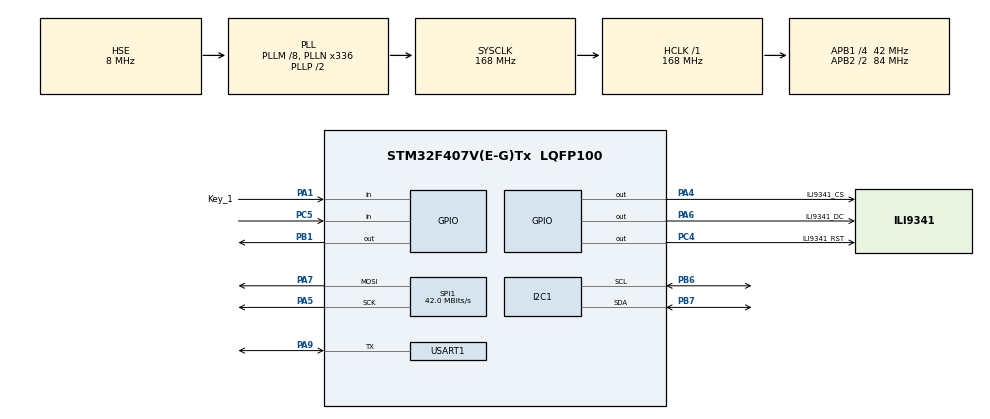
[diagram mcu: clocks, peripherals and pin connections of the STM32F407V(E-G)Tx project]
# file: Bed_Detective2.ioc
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FREERTOS.BinarySemaphores01=myBinarySem01,Dynamic,NULL,Available
FREERTOS.Tasks01=defaultTask,24,128,StartDefaultTask,Default,NULL,Dynamic,NULL,NULL;lv_Timertask,8,1536,lv_Timerhandler_Task,Default,NULL,Dynamic,NULL,NULL;KEY_HandleTask,9,128,KEY_Task,Default,NULL,Dynamic,NULL,NULL
I2C1.I2C_Mode=I2C_Fast
Mcu.Family=STM32F4
Mcu.Name=STM32F407V(E-G)Tx
Mcu.Package=LQFP100
NVIC.PriorityGroup=NVIC_PRIORITYGROUP_4
PA1.GPIO_Label=Key_1
PA1.GPIO_PuPd=GPIO_PULLUP
PA1.Signal=GPIO_Input
PA4.GPIO_Label=ILI9341_CS
PA4.PinState=GPIO_PIN_SET
PA4.Signal=GPIO_Output
PA5.Mode=TX_Only_Simplex_Unidirect_Master
PA5.Signal=SPI1_SCK
PA6.GPIO_Label=ILI9341_DC
PA6.Signal=GPIO_Output
PA7.Mode=TX_Only_Simplex_Unidirect_Master
PA7.Signal=SPI1_MOSI
PA9.Mode=Half_duplex(single_wire_mode)
PA9.Signal=USART1_TX
PB1.GPIO_PuPd=GPIO_PULLDOWN
PB1.Signal=GPIO_Output
PB6.Mode=I2C
PB6.Signal=I2C1_SCL
PB7.Mode=I2C
PB7.Signal=I2C1_SDA
PC14-OSC32_IN.Mode=LSE-External-Oscillator
PC14-OSC32_IN.Signal=RCC_OSC32_IN
PC15-OSC32_OUT.Mode=LSE-External-Oscillator
PC15-OSC32_OUT.Signal=RCC_OSC32_OUT
PC4.GPIO_Label=ILI9341_RST
PC4.PinState=GPIO_PIN_SET
PC4.Signal=GPIO_Output
PC5.GPIO_PuPd=GPIO_NOPULL
PC5.Signal=GPIO_Input
PH0-OSC_IN.Mode=HSE-External-Oscillator
PH0-OSC_IN.Signal=RCC_OSC_IN
PH1-OSC_OUT.Mode=HSE-External-Oscillator
PH1-OSC_OUT.Signal=RCC_OSC_OUT
ProjectManager.HeapSize=0x200
ProjectManager.StackSize=0x400
ProjectManager.TargetToolchain=STM32CubeIDE
RCC.48MHZClocksFreq_Value=84000000
RCC.AHBFreq_Value=168000000
RCC.APB1CLKDivider=RCC_HCLK_DIV4
RCC.APB1Freq_Value=42000000
RCC.APB1TimFreq_Value=84000000
RCC.APB2CLKDivider=RCC_HCLK_DIV2
RCC.APB2Freq_Value=84000000
RCC.APB2TimFreq_Value=168000000
RCC.CortexFreq_Value=168000000
RCC.HCLKFreq_Value=168000000
RCC.HSE_VALUE=8000000
RCC.HSI_VALUE=16000000
RCC.PLLM=8
RCC.PLLN=336
RCC.PLLSourceVirtual=RCC_PLLSOURCE_HSE
RCC.RCC_RTC_Clock_Source=RCC_RTCCLKSOURCE_LSE
RCC.RCC_RTC_Clock_SourceVirtual=RCC_RTCCLKSOURCE_LSE
RCC.SYSCLKFreq_VALUE=168000000
RCC.SYSCLKSource=RCC_SYSCLKSOURCE_PLLCLK
RCC.VCOOutputFreq_Value=336000000
SPI1.BaudRatePrescaler=SPI_BAUDRATEPRESCALER_2
SPI1.CalculateBaudRate=42.0 MBits/s
SPI1.Direction=SPI_DIRECTION_2LINES
SPI1.Mode=SPI_MODE_MASTER
SPI1.VirtualType=VM_MASTER
USART1.VirtualMode=VM_ASYNC
VP_FREERTOS_VS_CMSIS_V2.Mode=CMSIS_V2
VP_RTC_VS_RTC_Activate.Mode=RTC_Enabled
VP_RTC_VS_RTC_Calendar.Mode=RTC_Calendar
board=custom

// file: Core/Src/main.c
/* USER CODE BEGIN Header */
/**
  ******************************************************************************
  * @file           : main.c
  * @brief          : Main program body
  ******************************************************************************
  * @attention
  *
  * Copyright (c) 2026 STMicroelectronics.
  * All rights reserved.
  *
  * This software is licensed under terms that can be found in the LICENSE file
  * in the root directory of this software component.
  * If no LICENSE file comes with this software, it is provided AS-IS.
  *
  ******************************************************************************
  */
/* USER CODE END Header */
#include "main.h"
#include "cmsis_os.h"

/* USER CODE BEGIN Includes */
#include "LCD.h"
#include "lvgl.h"
#include "lv_port.h"
#include "myTask.h"
#include "key.h"
#include "log.h"
#include "ft6336.h"
/* USER CODE END Includes */

I2C_HandleTypeDef hi2c1;

RTC_HandleTypeDef hrtc;

SPI_HandleTypeDef hspi1;

UART_HandleTypeDef huart1;

/* Definitions for defaultTask */
osThreadId_t defaultTaskHandle;
const osThreadAttr_t defaultTask_attributes = {
  .name = "defaultTask",
  .stack_size = 128 * 4,
  .priority = (osPriority_t) osPriorityNormal,
};
/* Definitions for lv_Timertask */
osThreadId_t lv_TimertaskHandle;
const osThreadAttr_t lv_Timertask_attributes = {
  .name = "lv_Timertask",
  .stack_size = 1536 * 4,
  .priority = (osPriority_t) osPriorityLow,
};
/* Definitions for KEY_HandleTask */
osThreadId_t KEY_HandleTaskHandle;
const osThreadAttr_t KEY_HandleTask_attributes = {
  .name = "KEY_HandleTask",
  .stack_size = 128 * 4,
  .priority = (osPriority_t) osPriorityLow1,
};
/* Definitions for myBinarySem01 */
osSemaphoreId_t myBinarySem01Handle;
const osSemaphoreAttr_t myBinarySem01_attributes = {
  .name = "myBinarySem01"
};
/* USER CODE BEGIN PV */
GPIO_PinState current = GPIO_PIN_SET;
GPIO_PinState previous = GPIO_PIN_SET;
/* USER CODE END PV */

void SystemClock_Config(void);
static void MX_GPIO_Init(void);
static void MX_SPI1_Init(void);
static void MX_RTC_Init(void);
static void MX_I2C1_Init(void);
static void MX_USART1_UART_Init(void);
void StartDefaultTask(void *argument);
void lv_Timerhandler_Task(void *argument);
void KEY_Task(void *argument);

/* USER CODE BEGIN 0 */
static void touch_test(void)
{
    LOG("=== I2C scan ===\r\n");
    for (uint8_t a = 0x08; a < 0x78; a++) {
        if (HAL_I2C_IsDeviceReady(&hi2c1, a << 1, 2, 10) == HAL_OK) {
            LOG("  found 0x%02X\r\n", a);
        }
    }

    LOG("=== touch init ===\r\n");
    if (!ft6336_init()) {
        LOG("  FAIL\r\n");
        return;
    }
    LOG("  OK\r\n");

    LOG("=== read 5s, touch the screen ===\r\n");
    for (int i = 0; i < 50; i++) {
        uint16_t x, y;
        if (ft6336_read(&x, &y)) {
            LOG("  x=%d y=%d\r\n", x, y);
        }
        osDelay(100);
    }
}
/* USER CODE END 0 */

int main(void)
{

  /* MCU Configuration--------------------------------------------------------*/

  /* Reset of all peripherals, Initializes the Flash interface and the Systick. */
  HAL_Init();

  /* Configure the system clock */
  SystemClock_Config();

  /* Initialize all configured peripherals */
  MX_GPIO_Init();
  MX_SPI1_Init();
  MX_RTC_Init();
  MX_I2C1_Init();
  MX_USART1_UART_Init();
  /* USER CODE BEGIN 2 */
  LCD_Init();

  /* USER CODE END 2 */

  /* Init scheduler */
  osKernelInitialize();

  /* Create the semaphores(s) */
  /* creation of myBinarySem01 */
  myBinarySem01Handle = osSemaphoreNew(1, 1, &myBinarySem01_attributes);

  /* Create the thread(s) */
  /* creation of defaultTask */
  defaultTaskHandle = osThreadNew(StartDefaultTask, NULL, &defaultTask_attributes);

  /* creation of lv_Timertask */
  lv_TimertaskHandle = osThreadNew(lv_Timerhandler_Task, NULL, &lv_Timertask_attributes);

  /* creation of KEY_HandleTask */
  KEY_HandleTaskHandle = osThreadNew(KEY_Task, NULL, &KEY_HandleTask_attributes);

  /* USER CODE BEGIN RTOS_EVENTS */
  /* add events, ... */
  HAL_UART_Transmit(&huart1, (uint8_t *)"BOOT\r\n", 6, 100);
  /* USER CODE END RTOS_EVENTS */

  /* Start scheduler */
  osKernelStart();

  /* We should never get here as control is now taken by the scheduler */

  /* Infinite loop */
  while (1)
  {

  }
}

void SystemClock_Config(void)
{
  RCC_OscInitTypeDef RCC_OscInitStruct = {0};
  RCC_ClkInitTypeDef RCC_ClkInitStruct = {0};

  /** Configure the main internal regulator output voltage
  */
  __HAL_RCC_PWR_CLK_ENABLE();
  __HAL_PWR_VOLTAGESCALING_CONFIG(PWR_REGULATOR_VOLTAGE_SCALE1);

  /** Initializes the RCC Oscillators according to the specified parameters
  * in the RCC_OscInitTypeDef structure.
  */
  RCC_OscInitStruct.OscillatorType = RCC_OSCILLATORTYPE_HSE|RCC_OSCILLATORTYPE_LSE;
  RCC_OscInitStruct.HSEState = RCC_HSE_ON;
  RCC_OscInitStruct.LSEState = RCC_LSE_ON;
  RCC_OscInitStruct.PLL.PLLState = RCC_PLL_ON;
  RCC_OscInitStruct.PLL.PLLSource = RCC_PLLSOURCE_HSE;
  RCC_OscInitStruct.PLL.PLLM = 8;
  RCC_OscInitStruct.PLL.PLLN = 336;
  RCC_OscInitStruct.PLL.PLLP = RCC_PLLP_DIV2;
  RCC_OscInitStruct.PLL.PLLQ = 4;
  if (HAL_RCC_OscConfig(&RCC_OscInitStruct) != HAL_OK)
  {
    Error_Handler();
  }

  /** Initializes the CPU, AHB and APB buses clocks
  */
  RCC_ClkInitStruct.ClockType = RCC_CLOCKTYPE_HCLK|RCC_CLOCKTYPE_SYSCLK
                              |RCC_CLOCKTYPE_PCLK1|RCC_CLOCKTYPE_PCLK2;
  RCC_ClkInitStruct.SYSCLKSource = RCC_SYSCLKSOURCE_PLLCLK;
  RCC_ClkInitStruct.AHBCLKDivider = RCC_SYSCLK_DIV1;
  RCC_ClkInitStruct.APB1CLKDivider = RCC_HCLK_DIV4;
  RCC_ClkInitStruct.APB2CLKDivider = RCC_HCLK_DIV2;

  if (HAL_RCC_ClockConfig(&RCC_ClkInitStruct, FLASH_LATENCY_5) != HAL_OK)
  {
    Error_Handler();
  }
}

static void MX_I2C1_Init(void)
{

  hi2c1.Instance = I2C1;
  hi2c1.Init.ClockSpeed = 400000;
  hi2c1.Init.DutyCycle = I2C_DUTYCYCLE_2;
  hi2c1.Init.OwnAddress1 = 0;
  hi2c1.Init.AddressingMode = I2C_ADDRESSINGMODE_7BIT;
  hi2c1.Init.DualAddressMode = I2C_DUALADDRESS_DISABLE;
  hi2c1.Init.OwnAddress2 = 0;
  hi2c1.Init.GeneralCallMode = I2C_GENERALCALL_DISABLE;
  hi2c1.Init.NoStretchMode = I2C_NOSTRETCH_DISABLE;
  if (HAL_I2C_Init(&hi2c1) != HAL_OK)
  {
    Error_Handler();
  }

}

static void MX_RTC_Init(void)
{

  RTC_TimeTypeDef sTime = {0};
  RTC_DateTypeDef sDate = {0};

  /** Initialize RTC Only
  */
  hrtc.Instance = RTC;
  hrtc.Init.HourFormat = RTC_HOURFORMAT_24;
  hrtc.Init.AsynchPrediv = 127;
  hrtc.Init.SynchPrediv = 255;
  hrtc.Init.OutPut = RTC_OUTPUT_DISABLE;
  hrtc.Init.OutPutPolarity = RTC_OUTPUT_POLARITY_HIGH;
  hrtc.Init.OutPutType = RTC_OUTPUT_TYPE_OPENDRAIN;
  if (HAL_RTC_Init(&hrtc) != HAL_OK)
  {
    Error_Handler();
  }

  /* USER CODE BEGIN Check_RTC_BKUP */
  if (HAL_RTCEx_BKUPRead(&hrtc, RTC_BKP_DR0) == 0x32F2 &&
      HAL_GPIO_ReadPin(Key_1_GPIO_Port, Key_1_Pin) == GPIO_PIN_SET)
  {
      return;
  }

  /* USER CODE END Check_RTC_BKUP */

  /** Initialize RTC and set the Time and Date
  */
  sTime.Hours = 0x0;
  sTime.Minutes = 0x0;
  sTime.Seconds = 0x0;
  sTime.DayLightSaving = RTC_DAYLIGHTSAVING_NONE;
  sTime.StoreOperation = RTC_STOREOPERATION_RESET;
  if (HAL_RTC_SetTime(&hrtc, &sTime, RTC_FORMAT_BCD) != HAL_OK)
  {
    Error_Handler();
  }
  sDate.WeekDay = RTC_WEEKDAY_MONDAY;
  sDate.Month = RTC_MONTH_JANUARY;
  sDate.Date = 0x1;
  sDate.Year = 0x0;

  if (HAL_RTC_SetDate(&hrtc, &sDate, RTC_FORMAT_BCD) != HAL_OK)
  {
    Error_Handler();
  }
  /* USER CODE BEGIN RTC_Init 2 */
  RTC_TimeTypeDef t = {0};
  RTC_DateTypeDef d = {0};

  t.Hours = 12; t.Minutes = 0; t.Seconds = 0;
  d.Year = 26; d.Month = RTC_MONTH_NOVEMBER; d.Date = 26;
  HAL_RTC_SetTime(&hrtc, &t, RTC_FORMAT_BIN);
  HAL_RTC_SetDate(&hrtc, &d, RTC_FORMAT_BIN);
  HAL_RTCEx_BKUPWrite(&hrtc, RTC_BKP_DR0, 0x32F2);
  /* USER CODE END RTC_Init 2 */

}

static void MX_SPI1_Init(void)
{

  /* SPI1 parameter configuration*/
  hspi1.Instance = SPI1;
  hspi1.Init.Mode = SPI_MODE_MASTER;
  hspi1.Init.Direction = SPI_DIRECTION_2LINES;
  hspi1.Init.DataSize = SPI_DATASIZE_8BIT;
  hspi1.Init.CLKPolarity = SPI_POLARITY_LOW;
  hspi1.Init.CLKPhase = SPI_PHASE_1EDGE;
  hspi1.Init.NSS = SPI_NSS_SOFT;
  hspi1.Init.BaudRatePrescaler = SPI_BAUDRATEPRESCALER_2;
  hspi1.Init.FirstBit = SPI_FIRSTBIT_MSB;
  hspi1.Init.TIMode = SPI_TIMODE_DISABLE;
  hspi1.Init.CRCCalculation = SPI_CRCCALCULATION_DISABLE;
  hspi1.Init.CRCPolynomial = 10;
  if (HAL_SPI_Init(&hspi1) != HAL_OK)
  {
    Error_Handler();
  }

}

static void MX_USART1_UART_Init(void)
{

  huart1.Instance = USART1;
  huart1.Init.BaudRate = 115200;
  huart1.Init.WordLength = UART_WORDLENGTH_8B;
  huart1.Init.StopBits = UART_STOPBITS_1;
  huart1.Init.Parity = UART_PARITY_NONE;
  huart1.Init.Mode = UART_MODE_TX_RX;
  huart1.Init.HwFlowCtl = UART_HWCONTROL_NONE;
  huart1.Init.OverSampling = UART_OVERSAMPLING_16;
  if (HAL_HalfDuplex_Init(&huart1) != HAL_OK)
  {
    Error_Handler();
  }

}

static void MX_GPIO_Init(void)
{
  GPIO_InitTypeDef GPIO_InitStruct = {0};

  /* GPIO Ports Clock Enable */
  __HAL_RCC_GPIOC_CLK_ENABLE();
  __HAL_RCC_GPIOH_CLK_ENABLE();
  __HAL_RCC_GPIOA_CLK_ENABLE();
  __HAL_RCC_GPIOB_CLK_ENABLE();

  /*Configure GPIO pin Output Level */
  HAL_GPIO_WritePin(ILI9341_CS_GPIO_Port, ILI9341_CS_Pin, GPIO_PIN_SET);

  /*Configure GPIO pin Output Level */
  HAL_GPIO_WritePin(ILI9341_DC_GPIO_Port, ILI9341_DC_Pin, GPIO_PIN_RESET);

  /*Configure GPIO pin Output Level */
  HAL_GPIO_WritePin(ILI9341_RST_GPIO_Port, ILI9341_RST_Pin, GPIO_PIN_SET);

  /*Configure GPIO pin Output Level */
  HAL_GPIO_WritePin(GPIOB, GPIO_PIN_1, GPIO_PIN_RESET);

  /*Configure GPIO pin : Key_1_Pin */
  GPIO_InitStruct.Pin = Key_1_Pin;
  GPIO_InitStruct.Mode = GPIO_MODE_INPUT;
  GPIO_InitStruct.Pull = GPIO_PULLUP;
  HAL_GPIO_Init(Key_1_GPIO_Port, &GPIO_InitStruct);

  /*Configure GPIO pins : ILI9341_CS_Pin ILI9341_DC_Pin */
  GPIO_InitStruct.Pin = ILI9341_CS_Pin|ILI9341_DC_Pin;
  GPIO_InitStruct.Mode = GPIO_MODE_OUTPUT_PP;
  GPIO_InitStruct.Pull = GPIO_NOPULL;
  GPIO_InitStruct.Speed = GPIO_SPEED_FREQ_LOW;
  HAL_GPIO_Init(GPIOA, &GPIO_InitStruct);

  /*Configure GPIO pin : ILI9341_RST_Pin */
  GPIO_InitStruct.Pin = ILI9341_RST_Pin;
  GPIO_InitStruct.Mode = GPIO_MODE_OUTPUT_PP;
  GPIO_InitStruct.Pull = GPIO_NOPULL;
  GPIO_InitStruct.Speed = GPIO_SPEED_FREQ_LOW;
  HAL_GPIO_Init(ILI9341_RST_GPIO_Port, &GPIO_InitStruct);

  /*Configure GPIO pin : PC5 */
  GPIO_InitStruct.Pin = GPIO_PIN_5;
  GPIO_InitStruct.Mode = GPIO_MODE_INPUT;
  GPIO_InitStruct.Pull = GPIO_NOPULL;
  HAL_GPIO_Init(GPIOC, &GPIO_InitStruct);

  /*Configure GPIO pin : PB1 */
  GPIO_InitStruct.Pin = GPIO_PIN_1;
  GPIO_InitStruct.Mode = GPIO_MODE_OUTPUT_PP;
  GPIO_InitStruct.Pull = GPIO_PULLDOWN;
  GPIO_InitStruct.Speed = GPIO_SPEED_FREQ_LOW;
  HAL_GPIO_Init(GPIOB, &GPIO_InitStruct);

}

void StartDefaultTask(void *argument)
{
  for(;;)
  {
    osDelay(1);
  }
}

void lv_Timerhandler_Task(void *argument)
{
  /* USER CODE BEGIN lv_Timerhandler_Task */
  /* Infinite loop */
    LOG("BUILD %s %s\r\n", __DATE__, __TIME__);

    LOG("1: touch init...\r\n");
    ft6336_init();
    LOG("1: done\r\n");

    LOG("2: lvgl init...\r\n");
    lv_port_init();
    LOG("2: done\r\n");

    LOG("3: ui init...\r\n");
    ui_init();
    LOG("3: done\r\n");
	  ft6336_indev_init();//触摸屏初始化
	  static vitals_t v = { 76, 98, 36.5f, 16, 0 };
	  ui_update(&v);
		osSemaphoreAcquire(myBinarySem01Handle, 0);
  for(;;)
  {
	  LOG("4: done\r\n");
		if(osSemaphoreAcquire(myBinarySem01Handle,0)==osOK)
		{
			;
		}
		LOG("5: done\r\n");
	lv_timer_handler();
	LOG("6: done\r\n");
    osDelay(5);
  }
  /* USER CODE END lv_Timerhandler_Task */
}

void KEY_Task(void *argument)
{
  /* USER CODE BEGIN KEY_Task */
  /* Infinite loop */
	KEY_Init();
  for(;;)
  {
	  uint8_t get_number = KEY_Scan();
	  if(get_number==1)
	  {
		  osSemaphoreRelease(myBinarySem01Handle);

	  }
    osDelay(20);
  }
  /* USER CODE END KEY_Task */
}

void Error_Handler(void)
{
  __disable_irq();
  while (1)
  {
  }
}
